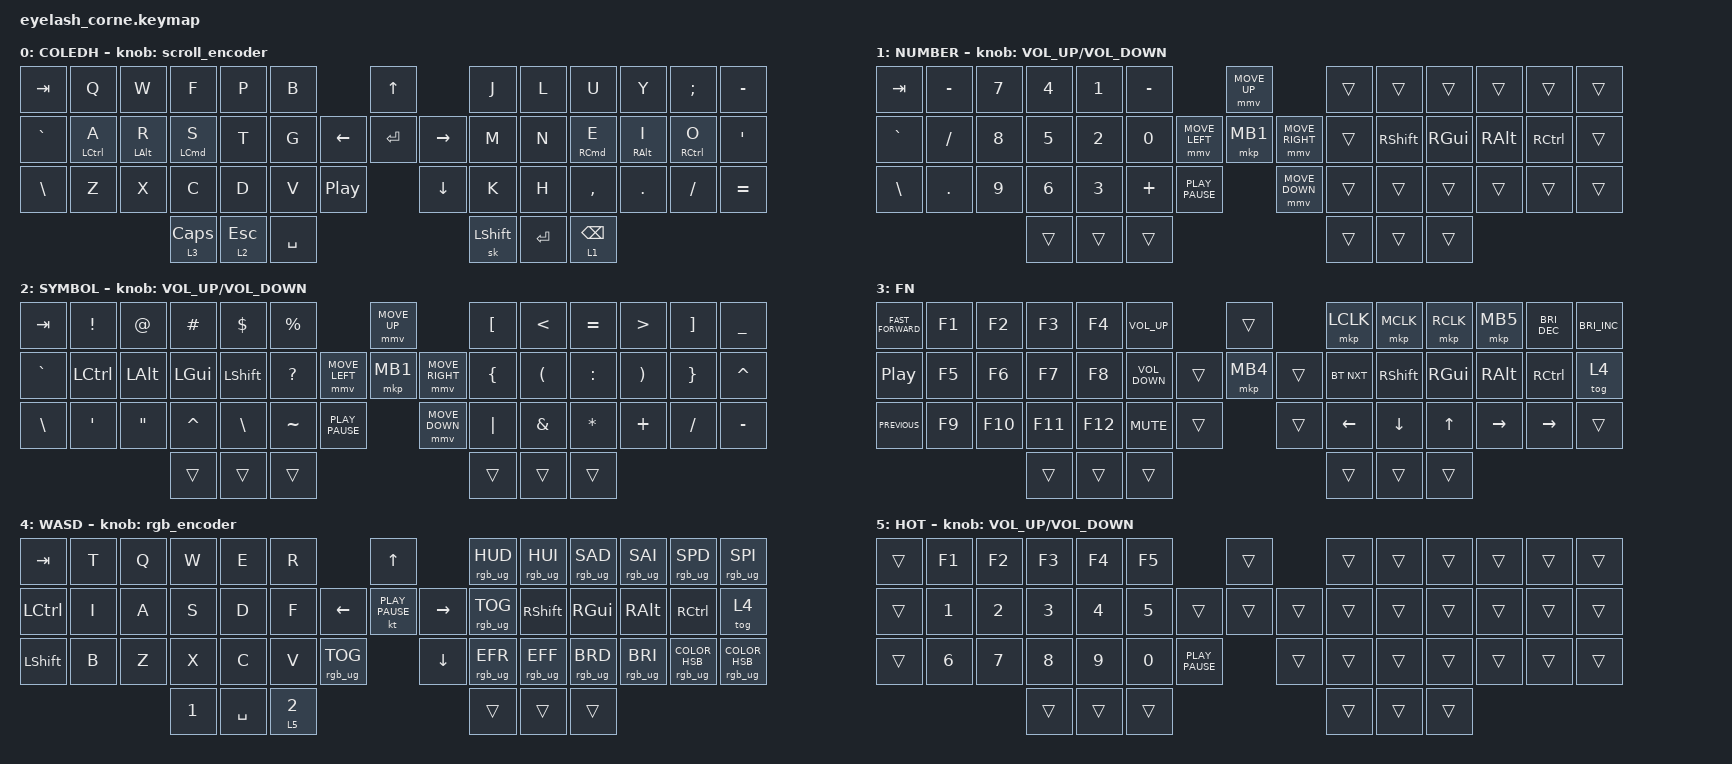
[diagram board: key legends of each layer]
#define ZMK_POINTING_DEFAULT_MOVE_VAL 1200  // 600
#define ZMK_POINTING_DEFAULT_SCRL_VAL 25   // 10

#include <input/processors.dtsi>
#include <zephyr/dt-bindings/input/input-event-codes.h>
#include <behaviors.dtsi>
#include <dt-bindings/zmk/bt.h>
#include <dt-bindings/zmk/keys.h>
#include <dt-bindings/zmk/pointing.h>
#include <dt-bindings/zmk/rgb.h>

#include "zmk-helpers/helper.h"
#include "zmk-helpers/key-labels/eyelash42.h"


#define KEYS_L LT0 LT1 LT2 LT3 LT4 LT5 LM0 LM1 LM2 LM3 LM4 LM5 LB0 LB1 LB2 LB3 LB4 LB5
#define KEYS_R RT0 RT1 RT2 RT3 RT4 RT5 RM0 RM1 RM2 RM3 RM4 RM5 RB0 RB1 RB2 RB3 RB4 RB5
#define KEYS_T LH2 LH1 LH0 RH0 RH1 RH2
#define KEYS_J JS0 JS1 JS2 JS3 JS4 LEC

#define LT_TAPPING_TERM 200
#define HM_TAPPING_TERM 200
#define HM_TAPPING_TERM_FAST 150
#define HM_PRIOR_IDLE 100

// Make sure this file is included before all other files

/*
 * Layer Tap Settings
 */
&lt {
    // Increase layer tap time
    tapping-term-ms = <LT_TAPPING_TERM>;

    // Quickly tap-tap-holding the lt button will repeat the tap behavior
    // For example enter-enter-hold, will output multiple enter while you
    // keep holding the key.
    // But holding enter without double tapping, will activate the layer.
     quick-tap-ms = <200>;

     flavor = "balanced";
};

// prevents double capitals
&sk {
    quick-release;
};

/*
 * Caps Word Settings
 */
&caps_word {
    // Allow caps word to continue even when minus or underscore
    // are pressed.
    // Also prevent mod presses from cancelling caps word.
    continue-list = <
      UNDERSCORE MINUS
      LCTRL LALT LGUI LSHFT
      RCTRL RALT RGUI RSHFT
      BACKSPACE
    >;
    #ifdef HAS_UROB
        /delete-property/ ignore-modifiers;
    #endif
};

#ifdef HAS_CAPSLOCK
    &caps_word_capslock {
        disable-on-keys = <
            SPACE TAB ENTER ESCAPE
            COMMA DOT SEMI COLON QUESTION EXCLAMATION
            SLASH BACKSLASH SINGLE_QUOTE DOUBLE_QUOTES GRAVE
            LPAR RPAR LBKT RBKT LBRC RBRC LT GT
        >;
    };
#endif


/ {

    behaviors {

        // Positional Homerow mods
        // Homerow mods that prevent accidental activations when rolling keys,
        // such as when typing `st` or `ne` on colemak-dh layouts or `as` on
        // qwerty.
        //
        // Works by only allowing a mod to activate within tapping-term if
        // it's on the opposite side of the keyboard or on the same side thumb
        // keys.

        // Further optimization using urob's timerless homerow mods method:
        // https://github.com/urob/zmk-config#timeless-homerow-mods
        hm_l: homerow_mods_left {
            compatible = "zmk,behavior-hold-tap";
            #binding-cells = <2>;
            bindings = <&kp>,  <&kp>;
            flavor = "balanced";
            tapping-term-ms = <HM_TAPPING_TERM>;
            quick-tap-ms = <175>;                // repeat on tap-into-hold
            require-prior-idle-ms = <HM_PRIOR_IDLE>;

            hold-trigger-key-positions = <KEYS_R KEYS_T>;
            hold-trigger-on-release;
        };

        hm_r: homerow_mods_right {
            compatible = "zmk,behavior-hold-tap";
            #binding-cells = <2>;
            bindings = <&kp>, <&kp>;

            flavor = "balanced";
            tapping-term-ms = <HM_TAPPING_TERM>;
            quick-tap-ms = <175>;
            require-prior-idle-ms = <HM_PRIOR_IDLE>;

            hold-trigger-key-positions = <KEYS_L KEYS_T>;
            hold-trigger-on-release;
        };
    };
};

&mmv_input_listener { input-processors = <&zip_xy_scaler 2 1>; };

&msc_input_listener { input-processors = <&zip_scroll_scaler 2 1>; };

&msc {
    acceleration-exponent = <1>;      // 0
    time-to-max-speed-ms = <100>;       // 300
    delay-ms = <0>;                   // 0
};

&mmv {
    time-to-max-speed-ms = <500>;
    acceleration-exponent = <1>;
    trigger-period-ms = <16>;
};

/ {
    behaviors {
        td0: td0 {
            compatible = "zmk,behavior-tap-dance";
            display-name = "Shift/Caps Lock Tap Dance";
            #binding-cells = <0>;
            bindings = <&kp LEFT_SHIFT>, <&kp CAPS>;
        };
    };

    rgb_encoder: rgb_encoder {
        compatible = "zmk,behavior-sensor-rotate";
        #sensor-binding-cells = <0>;
        bindings = <&rgb_ug RGB_BRI>, <&rgb_ug RGB_BRD>;
    };

    scroll_encoder: scroll_encoder {
        compatible = "zmk,behavior-sensor-rotate";
        #sensor-binding-cells = <0>;
        bindings = <&msc SCRL_DOWN>, <&msc SCRL_UP>;

        tap-ms = <100>;
    };

    combos {
        compatible = "zmk,combos";
        combo_N0 {
            timeout-ms = <50>;
            key-positions = <LH0 LM1>;
            bindings = <&kp N0>;
            layers = <0 1 2>;
        };
        combo_N1 {
            timeout-ms = <50>;
            key-positions = <LT0 LT1>;
            bindings = <&kp N1>;
            layers = <0 1 2>;
        };
        combo_N2 {
            timeout-ms = <50>;
            key-positions = <LM0 LM1>;
            bindings = <&kp N2>;
            layers = <0 1 2>;
        };
        combo_N3 {
            timeout-ms = <50>;
            key-positions = <LB0 LB1>;
            bindings = <&kp N3>;
            layers = <0 1 2>;
        };
        combo_N4 {
            timeout-ms = <50>;
            key-positions = <LT0 LT2>;
            bindings = <&kp N4>;
            layers = <0 1 2>;
        };
        combo_N5 {
            timeout-ms = <50>;
            key-positions = <LM0 LM2>;
            bindings = <&kp N5>;
            layers = <0 1 2>;
        };
        combo_N6 {
            timeout-ms = <50>;
            key-positions = <LB0 LB2>;
            bindings = <&kp N6>;
            layers = <0 1 2>;
        };
        combo_N7 {
            timeout-ms = <50>;
            key-positions = <LT0 LT3>;
            bindings = <&kp N7>;
            layers = <0 1 2>;
        };
        combo_N8 {
            timeout-ms = <50>;
            key-positions = <LM0 LM3>;
            bindings = <&kp N8>;
            layers = <0 1 2>;
        };
        combo_N9 {
            timeout-ms = <50>;
            key-positions = <LB0 LB3>;
            bindings = <&kp N9>;
            layers = <0 1 2>;
        };
        combo_symbol_layer {
            timeout-ms = <50>;
            key-positions = <LT1 LT2>;
            bindings = <&sl 2>;
            layers = <0 1>;
        };
    };

    keymap {
        compatible = "zmk,keymap";

        base_layer {
            bindings = <
&kp TAB        &kp Q     &kp W                 &kp F             &kp P                  &kp B                                    &kp UP               &kp J           &kp L      &kp U                &kp Y            &kp SEMICOLON        &kp MINUS
&kp GRAVE      &hm_l LEFT_CONTROL A  &hm_l LEFT_ALT R  &hm_l LEFT_COMMAND S &kp T &kp G                          &kp LEFT  &kp RET   &kp RIGHT  &kp M   &kp N &hm_r RIGHT_COMMAND E      &hm_r RIGHT_ALT I  &hm_r RIGHT_CONTROL O  &kp SQT
&kp BACKSLASH  &kp Z               &kp X           &kp C               &kp D         &kp V      &kp C_PLAY_PAUSE              &kp DOWN             &kp K           &kp H      &kp COMMA            &kp PERIOD       &kp SLASH            &kp EQUAL
                                                   &lt 3 CAPS          &lt 2 ESCAPE  &kp SPACE                                                     &sk LEFT_SHIFT  &kp ENTER  &lt 1 BACKSPACE
            >;

            sensor-bindings = <&scroll_encoder>;
            label = "COLEDH";
        };

        numbers {
            bindings = <
&kp TAB         &kp MINUS  &kp N7    &kp N4    &kp N1      &kp MINUS                                          &mmv MOVE_UP                     &trans  &trans     &trans     &trans     &trans        &trans
&kp GRAVE       &kp SLASH  &kp N8    &kp N5    &kp N2      &kp N0                             &mmv MOVE_LEFT  &mkp MB1        &mmv MOVE_RIGHT  &trans  &kp RSHFT  &kp RGUI   &kp RALT   &kp RCTRL     &trans
&kp BACKSLASH   &kp PERIOD &kp N9    &kp N6    &kp N3      &kp PLUS       &kp K_PLAY_PAUSE                    &mmv MOVE_DOWN                   &trans  &trans     &trans     &trans     &trans        &trans
                                     &trans    &trans      &trans                                                                              &trans  &trans     &trans
            >;

            sensor-bindings = <&inc_dec_kp C_VOLUME_UP C_VOLUME_DOWN>;
            label = "NUMBER";
        };


        symbols {
            bindings = <
&kp TAB        &kp EXCLAMATION   &kp AT_SIGN        &kp HASH      &kp DOLLAR      &kp PERCENT                                       &mmv MOVE_UP                     &kp LEFT_BRACKET  &kp LESS_THAN         &kp EQUAL     &kp GREATER_THAN       &kp RIGHT_BRACKET  &kp UNDERSCORE
&kp GRAVE      &kp LEFT_CONTROL  &kp LEFT_ALT       &kp LEFT_GUI  &kp LEFT_SHIFT  &kp QUESTION                      &mmv MOVE_LEFT  &mkp MB1        &mmv MOVE_RIGHT  &kp LEFT_BRACE    &kp LEFT_PARENTHESIS  &kp COLON     &kp RIGHT_PARENTHESIS  &kp RIGHT_BRACE    &kp CARET
&kp BACKSLASH  &kp SQT           &kp DOUBLE_QUOTES  &kp CARET     &kp BACKSLASH   &kp TILDE     &kp K_PLAY_PAUSE                    &mmv MOVE_DOWN                   &kp PIPE          &kp AMPERSAND         &kp ASTERISK  &kp PLUS               &kp SLASH          &kp MINUS
                                                    &trans        &trans          &trans                                                                             &trans            &trans                &trans
            >;

            sensor-bindings = <&inc_dec_kp C_VOLUME_UP C_VOLUME_DOWN>;
            label = "SYMBOL";
        };

        function_layer {
            bindings = <
&kp C_FAST_FORWARD  &kp F1  &kp F2   &kp F3   &kp F4   &kp C_VOLUME_UP                      &trans            &mkp LCLK   &mkp MCLK  &mkp RCLK  &mkp MB5   &kp C_BRIGHTNESS_DEC  &kp C_BRIGHTNESS_INC
&kp C_PLAY_PAUSE    &kp F5  &kp F6   &kp F7   &kp F8   &kp C_VOLUME_DOWN            &trans  &mkp MB4  &trans  &bt BT_NXT  &kp RSHFT  &kp RGUI   &kp RALT   &kp RCTRL             &tog 4
&kp C_PREVIOUS      &kp F9  &kp F10  &kp F11  &kp F12  &kp K_MUTE         &trans            &trans            &kp LEFT    &kp DOWN   &kp UP     &kp RIGHT  &kp RIGHT             &trans
                                     &trans   &trans   &trans                                                 &trans      &trans     &trans
            >;

            label = "FN";
        };

        gaming_layer {
            bindings = <
&kp TAB    &kp T  &kp Q  &kp W   &kp E      &kp R                                        &kp UP                       &rgb_ug RGB_HUD  &rgb_ug RGB_HUI  &rgb_ug RGB_SAD  &rgb_ug RGB_SAI  &rgb_ug RGB_SPD                    &rgb_ug RGB_SPI
&kp LCTRL  &kp I  &kp A  &kp S   &kp D      &kp F                              &kp LEFT  &kt K_PLAY_PAUSE  &kp RIGHT  &rgb_ug RGB_TOG  &kp RSHFT        &kp RGUI         &kp RALT         &kp RCTRL                          &tog 4
&kp LSHFT  &kp B  &kp Z  &kp X   &kp C      &kp V           &rgb_ug RGB_TOG              &kp DOWN                     &rgb_ug RGB_EFR  &rgb_ug RGB_EFF  &rgb_ug RGB_BRD  &rgb_ug RGB_BRI  &rgb_ug RGB_COLOR_HSB(302,100,50)  &rgb_ug RGB_COLOR_HSB(181,100,50)
                         &kp N1  &kp SPACE  &lt 5 NUMBER_2                                                            &trans           &trans           &trans
            >;

            label = "WASD";
            sensor-bindings = <&rgb_encoder>;
        };

        hotkey_layer {
            bindings = <
&trans  &kp F1  &kp F2  &kp F3  &kp F4  &kp F5                              &trans          &trans  &trans  &trans  &trans  &trans  &trans
&trans  &kp N1  &kp N2  &kp N3  &kp N4  &kp N5                      &trans  &trans  &trans  &trans  &trans  &trans  &trans  &trans  &trans
&trans  &kp N6  &kp N7  &kp N8  &kp N9  &kp N0  &kp K_PLAY_PAUSE            &trans          &trans  &trans  &trans  &trans  &trans  &trans
                        &trans  &trans  &trans                                              &trans  &trans  &trans
            >;

            label = "HOT";
            sensor-bindings = <&inc_dec_kp C_VOLUME_UP C_VOLUME_DOWN>;
        };
    };
};
